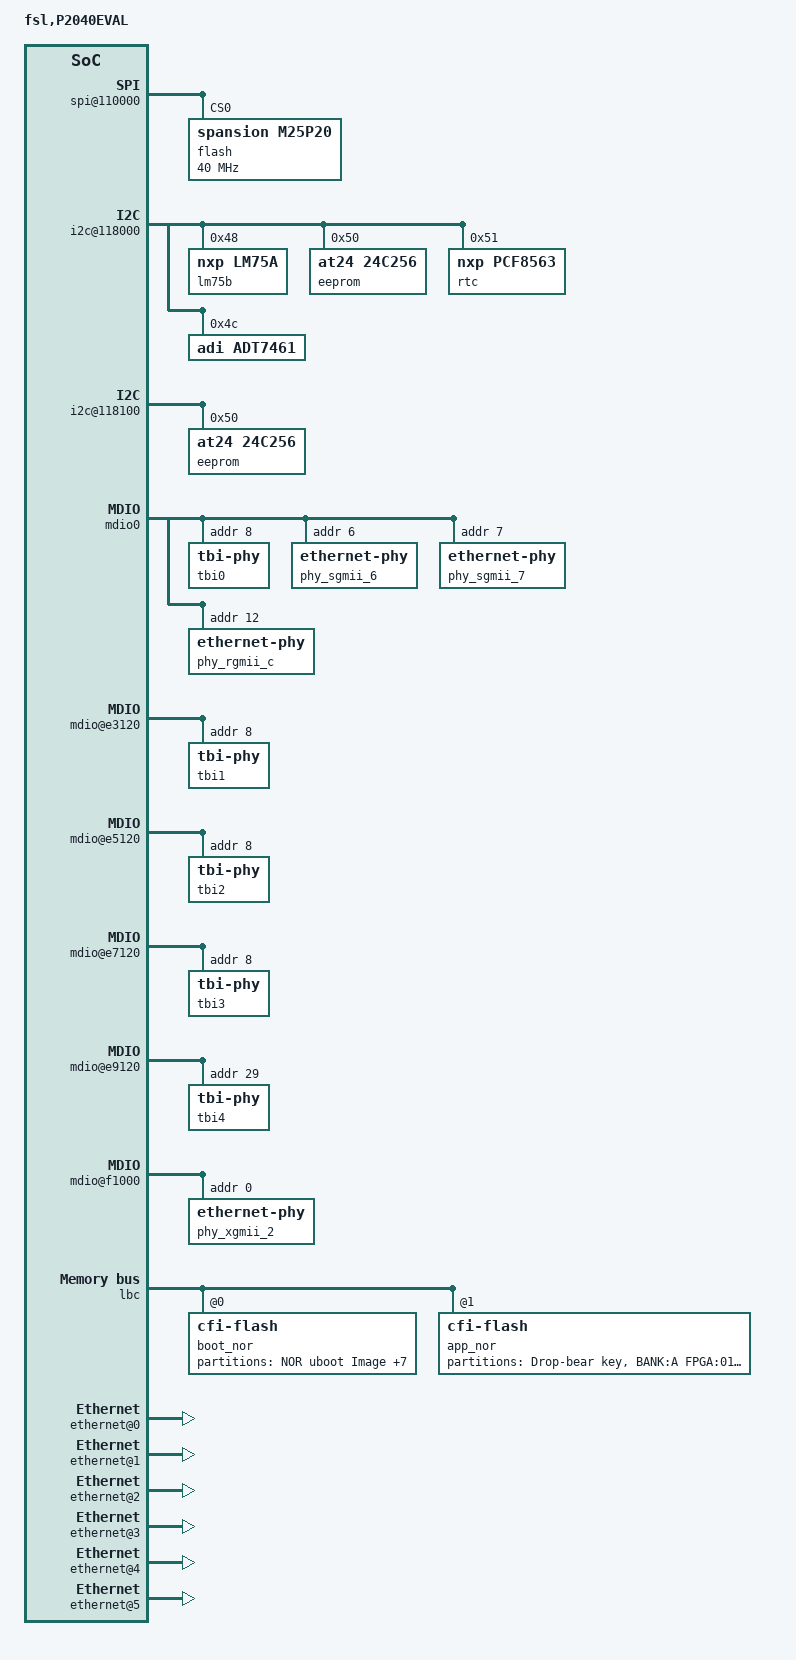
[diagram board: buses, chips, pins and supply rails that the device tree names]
/*
 * FNC P2040-eval Device Tree Source
 *
 * Copyright 2011-2012 Freescale Semiconductor Inc.
 *
 * Redistribution and use in source and binary forms, with or without
 * modification, are permitted provided that the following conditions are met:
 *     * Redistributions of source code must retain the above copyright
 *       notice, this list of conditions and the following disclaimer.
 *     * Redistributions in binary form must reproduce the above copyright
 *       notice, this list of conditions and the following disclaimer in the
 *       documentation and/or other materials provided with the distribution.
 *     * Neither the name of Freescale Semiconductor nor the
 *       names of its contributors may be used to endorse or promote products
 *       derived from this software without specific prior written permission.
 *
 *
 * ALTERNATIVELY, this software may be distributed under the terms of the
 * GNU General Public License ("GPL") as published by the Free Software
 * Foundation, either version 2 of that License or (at your option) any
 * later version.
 *
 * THIS SOFTWARE IS PROVIDED BY Freescale Semiconductor ``AS IS'' AND ANY
 * EXPRESS OR IMPLIED WARRANTIES, INCLUDING, BUT NOT LIMITED TO, THE IMPLIED
 * WARRANTIES OF MERCHANTABILITY AND FITNESS FOR A PARTICULAR PURPOSE ARE
 * DISCLAIMED. IN NO EVENT SHALL Freescale Semiconductor BE LIABLE FOR ANY
 * DIRECT, INDIRECT, INCIDENTAL, SPECIAL, EXEMPLARY, OR CONSEQUENTIAL DAMAGES
 * (INCLUDING, BUT NOT LIMITED TO, PROCUREMENT OF SUBSTITUTE GOODS OR SERVICES;
 * LOSS OF USE, DATA, OR PROFITS; OR BUSINESS INTERRUPTION) HOWEVER CAUSED AND
 * ON ANY THEORY OF LIABILITY, WHETHER IN CONTRACT, STRICT LIABILITY, OR TORT
 * (INCLUDING NEGLIGENCE OR OTHERWISE) ARISING IN ANY WAY OUT OF THE USE OF THIS
 * SOFTWARE, EVEN IF ADVISED OF THE POSSIBILITY OF SUCH DAMAGE.
 */

/include/ "fsl/p2040evalsi-pre.dtsi"

/ {
	model = "fsl,P2040EVAL";
	compatible = "fsl,P2041RDB";
	#address-cells = <2>;
	#size-cells = <2>;
	interrupt-parent = <&mpic>;

	aliases {
		ethernet0 = &enet0;
		ethernet1 = &enet1;
		ethernet2 = &enet2;
		ethernet3 = &enet3;
		ethernet4 = &enet4;
		ethernet5 = &enet5;
		phy_rgmii_c = &phy_rgmii_c;
		phy_sgmii_6 = &phy_sgmii_6;
		phy_sgmii_7 = &phy_sgmii_7;
	};

	memory {
		device_type = "memory";
	};

	dcsr: dcsr@f00000000 {
		ranges = <0x00000000 0xf 0x00000000 0x01008000>;
	};

	bportals: bman-portals@0b1000000 {
		ranges = <0x0 0x0 0xb1000000 0x200000>;
	};

	qportals: qman-portals@0b1200000 {
		ranges = <0x0 0x0 0xb1200000 0x200000>;
	};

	soc: soc@0b0000000 {
		ranges = <0x00000000 0x0 0xb0000000 0x1000000>;
		reg = <0x0 0xb0000000 0 0x00001000>;
		spi@110000 {
			flash@0 {
				#address-cells = <1>;
				#size-cells = <1>;
				compatible = "spansion,m25p20";
				reg = <0>;
				spi-max-frequency = <40000000>; /* input clock */
			};
		};

		i2c@118000 {
			lm75b@48 {
				compatible = "nxp,lm75a";
				reg = <0x48>;
			};
			eeprom@50 {
				compatible = "at24,24c256";
				reg = <0x50>;
			};
			rtc@51 {
				compatible = "nxp,pcf8563";
				reg = <0x51>;
			};
			adt7461@4c {
				compatible = "adi,adt7461";
				reg = <0x4c>;
			};
		};

		i2c@118100 {
			eeprom@50 {
				compatible = "at24,24c256";
				reg = <0x50>;
			};
		};

		fman0: fman@400000 {
			enet0: ethernet@e0000 {
				tbi-handle = <&tbi0>;
				phy-connection-type = "sgmii";
				fixed-link = <4 1 1000 0 0>;
			};

			mdio0: mdio@e1120 {
				tbi0: tbi-phy@8 {
					reg = <0x8>;
					device_type = "tbi-phy";
				};
				phy_sgmii_6: ethernet-phy@6 {
					reg = <0x6>;
				};
				phy_sgmii_7: ethernet-phy@7 {
					reg = <0x7>;
				};
				phy_rgmii_c: ethernet-phy@c {
					reg = <0xc>;
				};
			};

			enet1: ethernet@e2000 {
				tbi-handle = <&tbi1>;
				phy-connection-type = "sgmii";
				fixed-link = <5 1 1000 0 0>;
			};

			mdio@e3120 {
				tbi1: tbi-phy@8 {
					reg = <8>;
					device_type = "tbi-phy";
				};
			};

			enet2: ethernet@e4000 {
				tbi-handle = <&tbi2>;
				phy-connection-type = "sgmii";
				fixed-link = <6 1 1000 0 0>;
			};

			mdio@e5120 {
				tbi2: tbi-phy@8 {
					reg = <8>;
					device_type = "tbi-phy";
				};
			};

			enet3: ethernet@e6000 {
				tbi-handle = <&tbi3>;
				phy-connection-type = "sgmii";
				fixed-link = <7 1 1000 0 0>;
			};

			mdio@e7120 {
				tbi3: tbi-phy@8 {
					reg = <8>;
					device_type = "tbi-phy";
				};
			};

			enet4: ethernet@e8000 {
				tbi-handle = <&tbi4>;
				phy-handle = <&phy_rgmii_c>;
				phy-connection-type = "rgmii";
			};

			mdio@e9120 {
				tbi4: tbi-phy@29 {
					reg = <0x1d>;
					device_type = "tbi-phy";
				};
			};

			enet5: ethernet@f0000 {
				/*
				 * phy-handle will be updated by U-Boot to
				 * reflect the actual slot the XAUI card is in.
				 */
				phy-handle = <&phy_xgmii_2>;
				phy-connection-type = "xgmii";
			};

			mdio@f1000 {
				/* XAUI card in slot 2 */
				phy_xgmii_2: ethernet-phy@0 {
					reg = <0x0>;
				};
			};
		};
	};

	lbc: localbus@0b0124000 {
		reg = <0x0 0xb0124000 0 0x1000>;
		ranges = <0 0 0x0 0xf8000000 0x04000000
			  1 0 0x0 0xc0000000 0x04000000>;
		boot_nor@0,0 {
                	#address-cells = <1>;
                	#size-cells = <1>;
               		compatible = "cfi-flash";
                	reg = <0x0 0x0 0x4000000>;
                	bank-width = <2>;
                	device-width = <1>;

                	partition@3f80000 {
	                        /* 512KB for u-boot */
        	                reg = <0x03f80000 0x00080000>;
                	        label = "NOR uboot Image";
                        	read-only;
	                };
	
        	        partition@3f60000 {
                	        /* 128KB for u-boot env */
                        	reg = <0x03f60000 0x00020000>;
                        	label = "NOR uboot-env1";
                	};

                	partition@10A0000 {
                	        /* 32MB FPGA Flash            */
                        	reg = <0x010a0000 0x02000000>;
                        	label = "Unused";
                	};

                	partition@A00000 {
                        	/* 40MB for JFFS2 based Root file System */
                        	reg = <0x00A00000 0x02600000>;
                        	label = "NOR JFFS2 Root File System";
                	};

                	partition@800000 {
                        	/* 2MB for MTD OOPS */
                        	reg = <0x00800000 0x0200000>;
                        	label = "MTD OOPS";
                	};

                	partition@700000 {
                        	/* 1MB for Hardware device tree */
                        	reg = <0x00700000 0x00100000>;
                        	label = "NOR device tree dtb Image";
                	};

                	partition@20000 {
                        	/* 7MB for Linux Kernel */
                        	reg = <0x00020000 0x006e0000>;
                        	label = "NOR Linux Kernel Image";
                	};

                	partition@0 {
                        	/* This location must not be altered  */
                        	/* 128KB for RCW */
                        	reg = <0x00000000 0x00020000>;
                        	label = "NOR RCW";
                        	read-only;
                	};
        	};

		app_nor@1,0 {
                	#address-cells = <1>;
                	#size-cells = <1>;
               		compatible = "cfi-flash";
                	reg = <0x1 0x0 0x4000000>;
                	bank-width = <2>;
                	device-width = <1>;

                        partition@0 {
	                        /* Drop-bear key */
        	                reg = <0x00000000 0x00100000>;
                	        label = "Drop-bear key";
	                };
                        partition@800000 {
	                        /*8M FPGA flash */
        	                reg = <0x000800000 0x00020000>;
                	        label = "BANK:A FPGA:01";
	                };
                        partition@1000000 {
	                        /*8M FPGA flash */
        	                reg = <0x001000000 0x00020000>;
                	        label = "BANK:A FPGA:02";
	                };
                        partition@1800000 {
	                        /*8M FPGA flash */
        	                reg = <0x001800000 0x00020000>;
                	        label = "BANK:A FPGA:03";
	                };
                        partition@2000000 {
	                        /*8M FPGA flash */
        	                reg = <0x002000000 0x00020000>;
                	        label = "BANK:B FPGA:01";
	                };
                        partition@2800000 {
	                        /*8M FPGA flash */
        	                reg = <0x002800000 0x00020000>;
                	        label = "BANK:B FPGA:02";
	                };
                        partition@3000000 {
	                        /*8M FPGA flash */
        	                reg = <0x003000000 0x00020000>;
                	        label = "BANK:B FPGA:03";
	                };

		};
	};

	fsl,dpaa {
		compatible = "fsl,p2041-dpaa", "fsl,dpaa";

		ethernet@0 {
			compatible = "fsl,p2041-dpa-ethernet", "fsl,dpa-ethernet";
			fsl,fman-mac = <&enet0>;
		};
		ethernet@1 {
			compatible = "fsl,p2041-dpa-ethernet", "fsl,dpa-ethernet";
			fsl,fman-mac = <&enet1>;
		};
		ethernet@2 {
			compatible = "fsl,p2041-dpa-ethernet", "fsl,dpa-ethernet";
			fsl,fman-mac = <&enet2>;
		};
		ethernet@3 {
			compatible = "fsl,p2041-dpa-ethernet", "fsl,dpa-ethernet";
			fsl,fman-mac = <&enet3>;
		};
		ethernet@4 {
			compatible = "fsl,p2041-dpa-ethernet", "fsl,dpa-ethernet";
			fsl,fman-mac = <&enet4>;
		};
		ethernet@5 {
			compatible = "fsl,p2041-dpa-ethernet", "fsl,dpa-ethernet";
			fsl,fman-mac = <&enet5>;
		};
	};
};

/include/ "fsl/p2040evalsi-post.dtsi"

/include/ "fsl/qoriq-dpaa-res1.dtsi"
